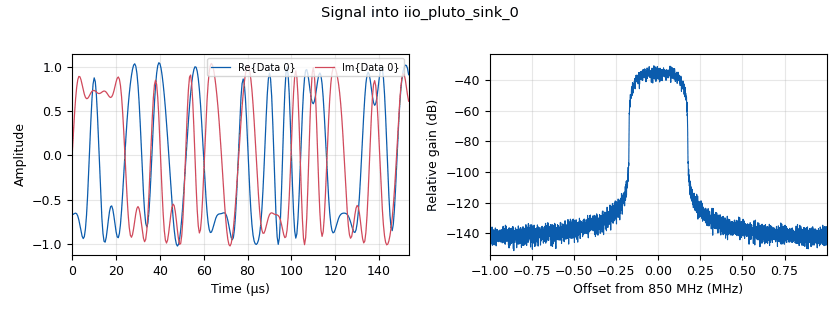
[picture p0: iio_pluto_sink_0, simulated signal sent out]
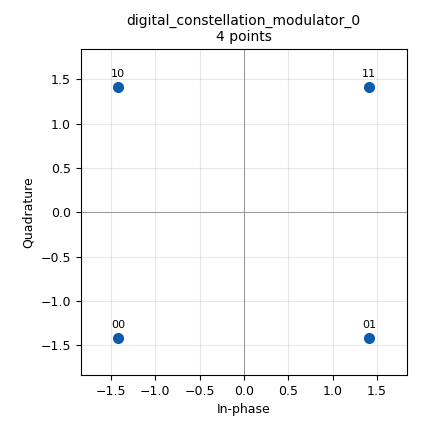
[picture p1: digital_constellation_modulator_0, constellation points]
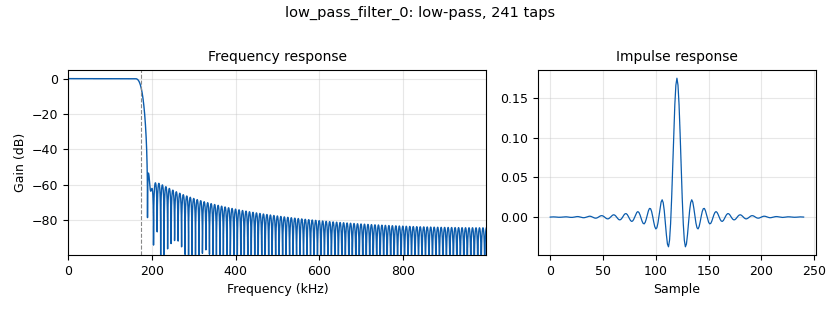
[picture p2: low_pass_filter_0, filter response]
options:
  parameters:
    author: emmanuelkwakyenyantakyi
    generate_options: qt_gui
    id: carrier_freq_offset_estimation_5_3
    output_language: python
    title: Carrier frequency offset estimation
  states: {}

blocks:
- name: my_const_qpsk
  id: variable_constellation
  parameters:
    precision: sps
    type: qpsk
  states: {}
- name: noise_amp
  id: variable_qtgui_range
  parameters:
    start: '0'
    step: '0.1'
    stop: '3'
    value: '1'
  states: {}
- name: samp_rate
  id: variable
  parameters:
    value: 2e6
  states: {}
- name: sps
  id: variable
  parameters:
    value: '8'
  states: {}
- name: analog_noise_source_x_0
  id: analog_noise_source_x
  parameters:
    amp: noise_amp
    noise_type: analog.GR_GAUSSIAN
    seed: '0'
    type: complex
  states: {}
- name: analog_random_source_x_0
  id: analog_random_source_x
  parameters:
    max: '255'
    min: '0'
    num_samps: '10000'
    repeat: 'True'
    type: byte
  states: {}
- name: blocks_add_xx_0
  id: blocks_add_xx
  parameters:
    type: complex
  states: {}
- name: blocks_multiply_const_vxx_0
  id: blocks_multiply_const_vxx
  parameters:
    const: '0.5'
    type: complex
  states: {}
- name: blocks_multiply_xx_0
  id: blocks_multiply_xx
  parameters:
    type: complex
  states: {}
- name: blocks_multiply_xx_0_0
  id: blocks_multiply_xx
  parameters:
    type: complex
  states: {}
- name: digital_constellation_modulator_0
  id: digital_constellation_modulator
  parameters:
    constellation: my_const_qpsk
    differential: 'False'
    excess_bw: '0.4'
    samples_per_symbol: sps
  states: {}
- name: iio_pluto_sink_0
  id: iio_pluto_sink
  parameters:
    attenuation1: '10.0'
    bandwidth: '20000000'
    buffer_size: '32768'
    cyclic: 'False'
    filter_source: '''Auto'''
    frequency: int(850e6)
    samplerate: int(samp_rate)
    type: fc32
    uri: usb:0.2.5
  states: {}
- name: iio_pluto_source_0
  id: iio_pluto_source
  parameters:
    bandwidth: '20000000'
    bbdc: 'True'
    buffer_size: '32768'
    filter_source: '''Auto'''
    frequency: int(850e6)
    gain1: '''manual'''
    manual_gain1: '30'
    quadrature: 'True'
    rfdc: 'True'
    samplerate: int(samp_rate)
    type: fc32
    uri: usb:0.2.5
  states: {}
- name: low_pass_filter_0
  id: low_pass_filter
  parameters:
    cutoff_freq: 175e3
    decim: '1'
    gain: '1'
    samp_rate: samp_rate
    type: fir_filter_ccf
    width: 20e3
    win: window.WIN_HAMMING
  states: {}
- name: qtgui_freq_sink_x_0
  id: qtgui_freq_sink_x
  parameters:
    bw: samp_rate * 2/5
    fc: '0'
    fftsize: '1024'
    type: complex
  states: {}
- name: rational_resampler_xxx_0
  id: rational_resampler_xxx
  parameters:
    decim: '5'
    interp: '2'
    type: ccc
  states: {}

connections:
- [analog_noise_source_x_0, '0', blocks_add_xx_0, '1']
- [analog_random_source_x_0, '0', digital_constellation_modulator_0, '0']
- [blocks_add_xx_0, '0', low_pass_filter_0, '0']
- [blocks_multiply_const_vxx_0, '0', iio_pluto_sink_0, '0']
- [blocks_multiply_xx_0, '0', blocks_multiply_xx_0_0, '0']
- [blocks_multiply_xx_0, '0', blocks_multiply_xx_0_0, '1']
- [blocks_multiply_xx_0_0, '0', rational_resampler_xxx_0, '0']
- [digital_constellation_modulator_0, '0', blocks_multiply_const_vxx_0, '0']
- [iio_pluto_source_0, '0', blocks_add_xx_0, '0']
- [low_pass_filter_0, '0', blocks_multiply_xx_0, '0']
- [low_pass_filter_0, '0', blocks_multiply_xx_0, '1']
- [rational_resampler_xxx_0, '0', qtgui_freq_sink_x_0, '0']

metadata:
  file_format: 1
  grc_version: 3.10.12.0
